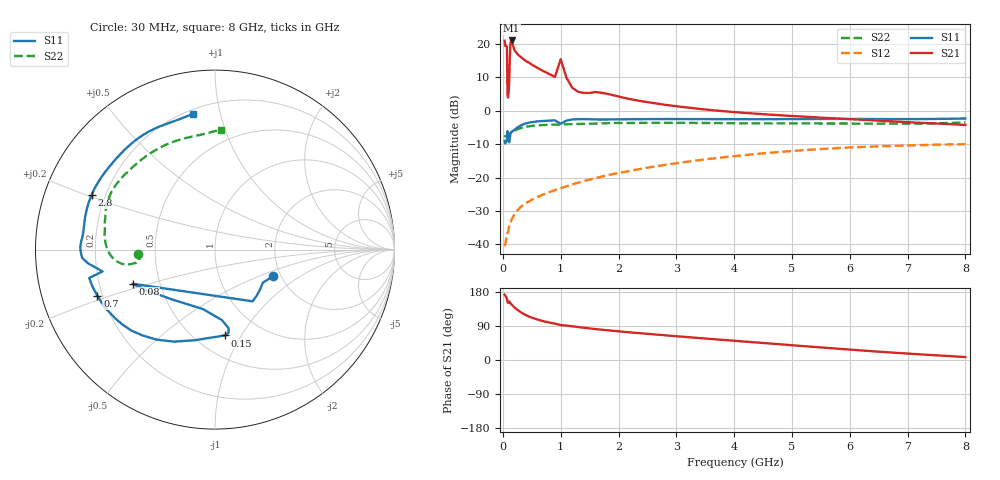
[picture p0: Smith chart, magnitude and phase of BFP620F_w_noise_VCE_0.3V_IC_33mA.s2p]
! Infineon Technologies  Discrete & RF Semiconductors
! BFP620F
! VCE =  0.3 V,  IC =  33 mA
! Common Emitter S-Parameters:  Dec 2014
# GHz  S  MA  R  50
!  f  S11  S21  S12  S22
! GHz  MAG  ANG  MAG  ANG  MAG  ANG  MAG  ANG
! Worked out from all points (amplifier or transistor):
!   95 points, 30 MHz to 8 GHz, reference 50 ohm
!   highest |S21| = 21.1 dB at 150 MHz (marker M1)
!   |S21| within 3 dB of that: 125.7 MHz to 203.6 MHz (77.94 MHz wide, 47.3 % of centre) (the widest 1 of 2)
!   unconditionally stable (mu >= 1): start of sweep to 977.5 MHz; 1.023 GHz to end of sweep
!   at 300 MHz: K = 1.22, MAG = 19.8 dB, |S12| = -28.9 dB
!   at 3.3 GHz: K = 1.22, MAG = 5.1 dB, |S12| = -15.0 dB
!   at 8 GHz: K = 1.19, MAG = 0.2 dB, |S12| = -10.0 dB
!   lowest NFmin = 1.20 dB at 450 MHz
!   S11 on the Smith chart (normalised r, x): 30 MHz: 1.81, -0.62; 80 MHz: 0.35, -0.18; 150 MHz: 0.68, -0.85; 700 MHz: 0.18, -0.18; 2.8 GHz: 0.15, +0.21; 8 GHz: 0.22, +0.83
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0.03  0.3545 -25.0  11.18 172.3  0.0094 32.0  0.4292 -177.0
0.04  0.3242 -34.6  9.349 170.1  0.0101 38.2  0.4121 -175.6
0.07  0.3562 -54.0  9.194 162.7  0.0134 47.9  0.4239 -173.0
0.08  0.4971 -157.5  1.719 152.9  0.0147 51.5  0.4271 -172.9
0.11  0.338 -101.5  2.778 154.4  0.0188 54.6  0.4486 -170.4
0.13  0.4442 -80.2  9.803 149.8  0.0215 52.3  0.4624 -170.4
0.14  0.4696 -80.8  11.2 148.0  0.022 52.9  0.4699 -170.3
0.15  0.4814 -83.5  11.29 146.5  0.0235 53.5  0.4756 -170.2
0.2  0.5175 -102.6  8.068 138.6  0.0282 52.4  0.5048 -170.4
0.3  0.5976 -122.9  6.481 127.0  0.0358 51.2  0.5478 -172.9
0.5  0.6751 -145.4  4.911 111.7  0.0466 50.8  0.5939 -178.8
0.7  0.7041 -158.6  3.918 102.4  0.0559 51.6  0.6122 176.2
0.9  0.7182 -167.3  3.197 96.0  0.065 53.0  0.6216 172.1
1  0.6382 -169.0  5.911 92.2  0.0695 53.5  0.6229 169.8
1.1  0.7129 -173.9  3.129 90.7  0.074 54.0  0.628 168.3
1.4  0.7508 178.7  1.85 85.1  0.0885 54.4  0.6369 163.6
2.7  0.7515 157.5  1.268 66.5  0.1499 49.8  0.6597 150.4
2.8  0.7517 156.2  1.231 65.3  0.1547 49.2  0.6597 149.6
4.1  0.7482 140.3  0.942 49.5  0.2135 39.7  0.6501 137.3
5.4  0.7531 126.3  0.8 34.3  0.264 28.4  0.6462 121.7
6.7  0.751 112.5  0.696 20.0  0.2973 16.5  0.6424 105.3
8  0.7677 99.2  0.614 7.7  0.3161 5.9  0.6694 87.3
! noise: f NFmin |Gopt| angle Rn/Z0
0.45  1.2  0.08  -172  0.17
0.9  1.23  0.09  -171  0.13
1.5  1.24  0.14  -149  0.13
1.8  1.25  0.14  -148  0.14
1.9  1.26  0.15  -148  0.14
2.4  1.28  0.15  215  0.16
3.5  1.34  0.16  -140  0.18
5.5  1.49  0.23  243  0.14
6  1.53  0.24  260  0.17
